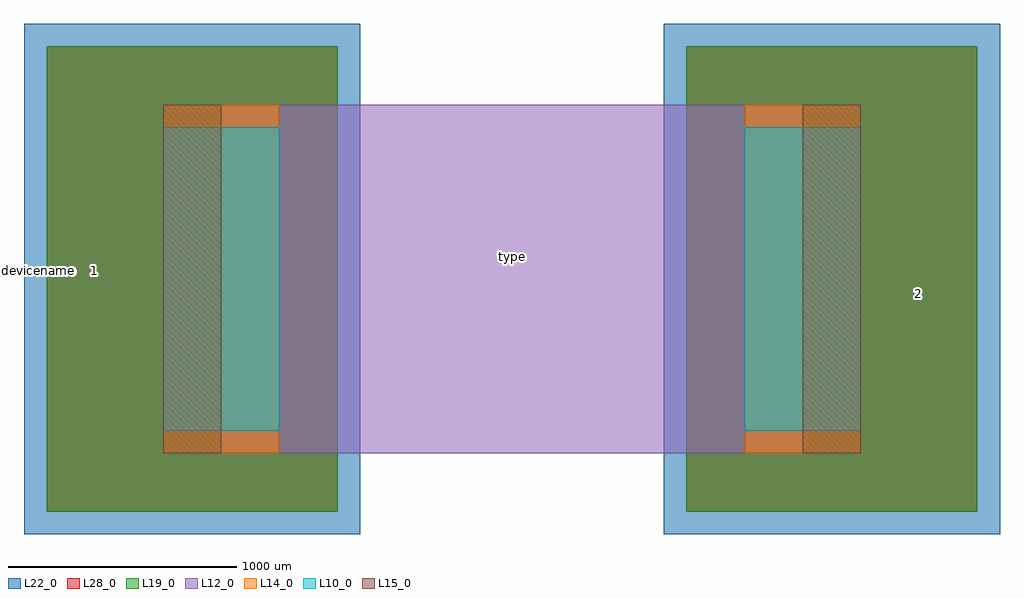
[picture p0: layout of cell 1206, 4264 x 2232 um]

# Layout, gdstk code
import gdstk
lib = gdstk.Library(unit=1e-6, precision=1e-09)
def R(c, l, rs):  # rectangles x0, y0, x1, y1
    for r in rs: c.add(gdstk.rectangle(r[:2], r[2:], *l))
L10_0 = (10, 0)
L12_0 = (12, 0)
L14_0 = (14, 0)
L15_0 = (15, 0)
L19_0 = (19, 0)
L22_0 = (22, 0)
L28_0 = (28, 0)

c_1206 = lib.new_cell('1206')
R(c_1206, L10_0, [(0,100,508,1424), (2540,100,3048,1424)])
R(c_1206, L12_0, [(254,0,2794,1524)])
R(c_1206, L14_0, [(0,0,508,1524), (2540,0,3048,1524)])
R(c_1206, L15_0, [(0,0,254,1524), (2794,0,3048,1524)])
R(c_1206, L19_0, [(-508,-254,762,1778), (2286,-254,3556,1778)])
R(c_1206, L22_0, [(-608,-354,862,1878), (2186,-354,3656,1878)])
R(c_1206, L28_0, [(-508,-254,762,1778), (2286,-254,3556,1778)])
c_1206.add(gdstk.Label('type', (1524,862), layer=10, texttype=0))
c_1206.add(gdstk.Label('devicename', (-700,800), layer=20, texttype=0))
c_1206.add(gdstk.Label('1', (-300,800), layer=28, texttype=0))
c_1206.add(gdstk.Label('2', (3300,700), layer=28, texttype=0))

lib.write_gds('1206.gds')
